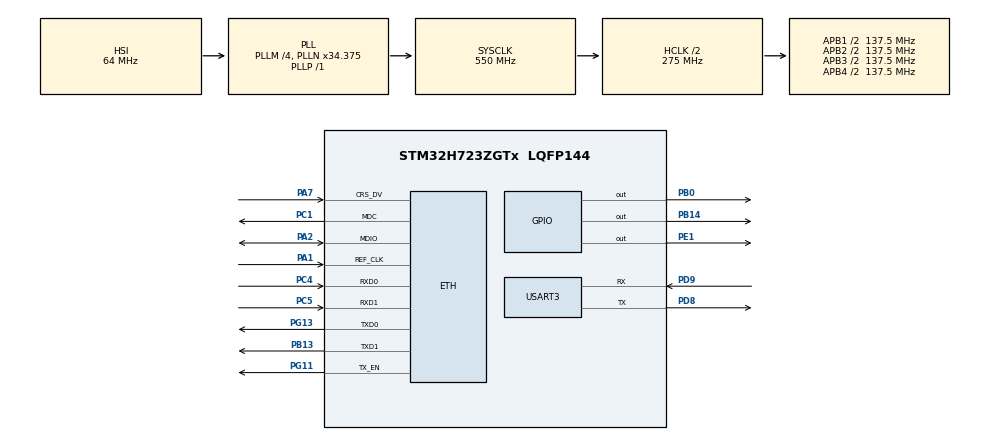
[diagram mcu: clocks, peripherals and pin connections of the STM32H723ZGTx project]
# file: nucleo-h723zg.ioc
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CORTEX_M7.default_mode_Activation=1
ETH.MediaInterface=HAL_ETH_RMII_MODE
FREERTOS.Tasks01=defaultTask,24,2048,StartDefaultTask,Default,NULL,Dynamic,NULL,NULL
FREERTOS.configTOTAL_HEAP_SIZE=65536
Mcu.Family=STM32H7
Mcu.Name=STM32H723ZGTx
Mcu.Package=LQFP144
NVIC.PriorityGroup=NVIC_PRIORITYGROUP_4
NVIC.TIM6_DAC_IRQn=true\:15\:0\:false\:false\:true\:false\:false\:true\:true
NVIC.TimeBase=TIM6_DAC_IRQn
NVIC.TimeBaseIP=TIM6
PA1.Mode=RMII
PA1.Signal=ETH_REF_CLK
PA2.Mode=RMII
PA2.Signal=ETH_MDIO
PA7.Mode=RMII
PA7.Signal=ETH_CRS_DV
PB0.Signal=GPIO_Output
PB13.Mode=RMII
PB13.Signal=ETH_TXD1
PB14.Signal=GPIO_Output
PC1.Mode=RMII
PC1.Signal=ETH_MDC
PC4.Mode=RMII
PC4.Signal=ETH_RXD0
PC5.Mode=RMII
PC5.Signal=ETH_RXD1
PD8.Mode=Asynchronous
PD8.Signal=USART3_TX
PD9.Mode=Asynchronous
PD9.Signal=USART3_RX
PE1.Signal=GPIO_Output
PG11.Mode=RMII
PG11.Signal=ETH_TX_EN
PG13.Mode=RMII
PG13.Signal=ETH_TXD0
ProjectManager.HeapSize=0x10000
ProjectManager.StackSize=0x2000
ProjectManager.TargetToolchain=CMake
RCC.ADCFreq_Value=129000000
RCC.APB1Freq_Value=137500000
RCC.APB2Freq_Value=137500000
RCC.APB3Freq_Value=137500000
RCC.APB4Freq_Value=137500000
RCC.CortexFreq_Value=550000000
RCC.D1PPRE=RCC_APB3_DIV2
RCC.D2PPRE1=RCC_APB1_DIV2
RCC.D2PPRE2=RCC_APB2_DIV2
RCC.D3PPRE=RCC_APB4_DIV2
RCC.DIVM1=4
RCC.DIVN1=34
RCC.DIVP1=1
RCC.HCLKFreq_Value=275000000
RCC.HPRE=RCC_HCLK_DIV2
RCC.PLL2FRACN=0
RCC.PLL3FRACN=0
RCC.PLLFRACN=3072
RCC.SYSCLKFreq_VALUE=550000000
RCC.SYSCLKSource=RCC_SYSCLKSOURCE_PLLCLK
RCC.USBFreq_Value=275000000
USART3.VirtualMode-Asynchronous=VM_ASYNC
VP_FREERTOS_VS_CMSIS_V2.Mode=CMSIS_V2
VP_MEMORYMAP_VS_MEMORYMAP.Mode=CurAppReg
VP_RNG_VS_RNG.Mode=RNG_Activate
VP_SYS_VS_tim6.Mode=TIM6
board=custom

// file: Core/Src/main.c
/* USER CODE BEGIN Header */
/**
  ******************************************************************************
  * @file           : main.c
  * @brief          : Main program body
  ******************************************************************************
  * @attention
  *
  * Copyright (c) 2026 STMicroelectronics.
  * All rights reserved.
  *
  * This software is licensed under terms that can be found in the LICENSE file
  * in the root directory of this software component.
  * If no LICENSE file comes with this software, it is provided AS-IS.
  *
  ******************************************************************************
  */
/* USER CODE END Header */
#include "main.h"
#include "string.h"
#include "FreeRTOS.h"
#include "cmsis_os2.h"

/* USER CODE BEGIN Includes */
#include "mongoose.h"

/* USER CODE END Includes */

#if defined ( __ICCARM__ ) /*!< IAR Compiler */
#pragma location=0x30000000
ETH_DMADescTypeDef  DMARxDscrTab[ETH_RX_DESC_CNT]; /* Ethernet Rx DMA Descriptors */
#pragma location=0x30000080
ETH_DMADescTypeDef  DMATxDscrTab[ETH_TX_DESC_CNT]; /* Ethernet Tx DMA Descriptors */

#elif defined ( __CC_ARM )  /* MDK ARM Compiler */

__attribute__((at(0x30000000))) ETH_DMADescTypeDef  DMARxDscrTab[ETH_RX_DESC_CNT]; /* Ethernet Rx DMA Descriptors */
__attribute__((at(0x30000080))) ETH_DMADescTypeDef  DMATxDscrTab[ETH_TX_DESC_CNT]; /* Ethernet Tx DMA Descriptors */

#elif defined ( __GNUC__ ) /* GNU Compiler */

ETH_DMADescTypeDef DMARxDscrTab[ETH_RX_DESC_CNT] __attribute__((section(".RxDescripSection"))); /* Ethernet Rx DMA Descriptors */
ETH_DMADescTypeDef DMATxDscrTab[ETH_TX_DESC_CNT] __attribute__((section(".TxDescripSection")));   /* Ethernet Tx DMA Descriptors */
#endif

ETH_TxPacketConfig TxConfig;

ETH_HandleTypeDef heth;

RNG_HandleTypeDef hrng;

UART_HandleTypeDef huart3;

/* Definitions for defaultTask */
osThreadId_t defaultTaskHandle;
const osThreadAttr_t defaultTask_attributes = {
  .name = "defaultTask",
  .stack_size = 8U * 1024U,
  .priority = (osPriority_t) osPriorityNormal,
};

void SystemClock_Config(void);
static void MPU_Config(void);
static void MX_GPIO_Init(void);
static void MX_ETH_Init(void);
static void MX_RNG_Init(void);
static void MX_USART3_UART_Init(void);
void StartDefaultTask(void *argument);

/* USER CODE BEGIN 0 */
static void log_fn(char ch, void *param) {
  HAL_UART_Transmit(param, (unsigned char *) &ch, 1, HAL_MAX_DELAY);
}

static void http_ev_handler(struct mg_connection *c, int ev, void *ev_data) {
 if (ev == MG_EV_HTTP_MSG) {
    struct mg_http_message *hm = (struct mg_http_message *) ev_data;
    if (mg_match(hm->uri, mg_str("/api/tick"), NULL)) {
      mg_http_reply(c, 200, "", "{%m:%lu}\n", MG_ESC("tick"), HAL_GetTick());
    } else if (mg_match(hm->uri, mg_str("/api/crash"), NULL)) {
      __asm volatile("udf #0");
    } else {
      mg_http_reply(c, 200, "Content-Type: text/plain\r\n",
                    "Hi from Mongoose, tick %lu\n%M\n",
                    (unsigned long) HAL_GetTick(), mg_print_mem_stats);
    }
  }
}
/* USER CODE END 0 */

int main(void)
{

  /* USER CODE BEGIN 1 */
  MG_HEALTH_INIT();
  /* USER CODE END 1 */

  /* MPU Configuration--------------------------------------------------------*/
  MPU_Config();

  /* MCU Configuration--------------------------------------------------------*/

  /* Reset of all peripherals, Initializes the Flash interface and the Systick. */
  HAL_Init();

  /* Configure the system clock */
  SystemClock_Config();

  /* Initialize all configured peripherals */
  MX_GPIO_Init();
  MX_ETH_Init();
  MX_RNG_Init();
  MX_USART3_UART_Init();

  /* Init scheduler */
  osKernelInitialize();

  /* Create the thread(s) */
  /* creation of defaultTask */
  defaultTaskHandle = osThreadNew(StartDefaultTask, NULL, &defaultTask_attributes);

  /* Start scheduler */
  osKernelStart();

  /* We should never get here as control is now taken by the scheduler */

  /* Infinite loop */
  while (1)
  {

  }
}

void SystemClock_Config(void)
{
  RCC_OscInitTypeDef RCC_OscInitStruct = {0};
  RCC_ClkInitTypeDef RCC_ClkInitStruct = {0};

  /** Supply configuration update enable
  */
  HAL_PWREx_ConfigSupply(PWR_LDO_SUPPLY);

  /** Configure the main internal regulator output voltage
  */
  __HAL_PWR_VOLTAGESCALING_CONFIG(PWR_REGULATOR_VOLTAGE_SCALE0);

  while(!__HAL_PWR_GET_FLAG(PWR_FLAG_VOSRDY)) {}

  /** Initializes the RCC Oscillators according to the specified parameters
  * in the RCC_OscInitTypeDef structure.
  */
  RCC_OscInitStruct.OscillatorType = RCC_OSCILLATORTYPE_HSI48|RCC_OSCILLATORTYPE_HSI;
  RCC_OscInitStruct.HSIState = RCC_HSI_DIV1;
  RCC_OscInitStruct.HSICalibrationValue = 64;
  RCC_OscInitStruct.HSI48State = RCC_HSI48_ON;
  RCC_OscInitStruct.PLL.PLLState = RCC_PLL_ON;
  RCC_OscInitStruct.PLL.PLLSource = RCC_PLLSOURCE_HSI;
  RCC_OscInitStruct.PLL.PLLM = 4;
  RCC_OscInitStruct.PLL.PLLN = 34;
  RCC_OscInitStruct.PLL.PLLP = 1;
  RCC_OscInitStruct.PLL.PLLQ = 2;
  RCC_OscInitStruct.PLL.PLLR = 2;
  RCC_OscInitStruct.PLL.PLLRGE = RCC_PLL1VCIRANGE_3;
  RCC_OscInitStruct.PLL.PLLVCOSEL = RCC_PLL1VCOWIDE;
  RCC_OscInitStruct.PLL.PLLFRACN = 3072;
  if (HAL_RCC_OscConfig(&RCC_OscInitStruct) != HAL_OK)
  {
    Error_Handler();
  }

  /** Initializes the CPU, AHB and APB buses clocks
  */
  RCC_ClkInitStruct.ClockType = RCC_CLOCKTYPE_HCLK|RCC_CLOCKTYPE_SYSCLK
                              |RCC_CLOCKTYPE_PCLK1|RCC_CLOCKTYPE_PCLK2
                              |RCC_CLOCKTYPE_D3PCLK1|RCC_CLOCKTYPE_D1PCLK1;
  RCC_ClkInitStruct.SYSCLKSource = RCC_SYSCLKSOURCE_PLLCLK;
  RCC_ClkInitStruct.SYSCLKDivider = RCC_SYSCLK_DIV1;
  RCC_ClkInitStruct.AHBCLKDivider = RCC_HCLK_DIV2;
  RCC_ClkInitStruct.APB3CLKDivider = RCC_APB3_DIV2;
  RCC_ClkInitStruct.APB1CLKDivider = RCC_APB1_DIV2;
  RCC_ClkInitStruct.APB2CLKDivider = RCC_APB2_DIV2;
  RCC_ClkInitStruct.APB4CLKDivider = RCC_APB4_DIV2;

  if (HAL_RCC_ClockConfig(&RCC_ClkInitStruct, FLASH_LATENCY_3) != HAL_OK)
  {
    Error_Handler();
  }
}

static void MX_ETH_Init(void)
{

   static uint8_t MACAddr[6];

  heth.Instance = ETH;
  MACAddr[0] = 0x00;
  MACAddr[1] = 0x80;
  MACAddr[2] = 0xE1;
  MACAddr[3] = 0x00;
  MACAddr[4] = 0x00;
  MACAddr[5] = 0x00;
  heth.Init.MACAddr = &MACAddr[0];
  heth.Init.MediaInterface = HAL_ETH_RMII_MODE;
  heth.Init.TxDesc = DMATxDscrTab;
  heth.Init.RxDesc = DMARxDscrTab;
  heth.Init.RxBuffLen = 1536;

  if (HAL_ETH_Init(&heth) != HAL_OK)
  {
    Error_Handler();
  }

}

static void MX_RNG_Init(void)
{

  hrng.Instance = RNG;
  hrng.Init.ClockErrorDetection = RNG_CED_ENABLE;
  if (HAL_RNG_Init(&hrng) != HAL_OK)
  {
    Error_Handler();
  }

}

static void MX_USART3_UART_Init(void)
{

  huart3.Instance = USART3;
  huart3.Init.BaudRate = 115200;
  huart3.Init.WordLength = UART_WORDLENGTH_8B;
  huart3.Init.StopBits = UART_STOPBITS_1;
  huart3.Init.Parity = UART_PARITY_NONE;
  huart3.Init.Mode = UART_MODE_TX_RX;
  huart3.Init.HwFlowCtl = UART_HWCONTROL_NONE;
  huart3.Init.OverSampling = UART_OVERSAMPLING_16;
  huart3.Init.OneBitSampling = UART_ONE_BIT_SAMPLE_DISABLE;
  huart3.Init.ClockPrescaler = UART_PRESCALER_DIV1;
  huart3.AdvancedInit.AdvFeatureInit = UART_ADVFEATURE_NO_INIT;
  if (HAL_UART_Init(&huart3) != HAL_OK)
  {
    Error_Handler();
  }
  if (HAL_UARTEx_SetTxFifoThreshold(&huart3, UART_TXFIFO_THRESHOLD_1_8) != HAL_OK)
  {
    Error_Handler();
  }
  if (HAL_UARTEx_SetRxFifoThreshold(&huart3, UART_RXFIFO_THRESHOLD_1_8) != HAL_OK)
  {
    Error_Handler();
  }
  if (HAL_UARTEx_DisableFifoMode(&huart3) != HAL_OK)
  {
    Error_Handler();
  }

}

static void MX_GPIO_Init(void)
{
  GPIO_InitTypeDef GPIO_InitStruct = {0};

  /* GPIO Ports Clock Enable */
  __HAL_RCC_GPIOC_CLK_ENABLE();
  __HAL_RCC_GPIOA_CLK_ENABLE();
  __HAL_RCC_GPIOB_CLK_ENABLE();
  __HAL_RCC_GPIOD_CLK_ENABLE();
  __HAL_RCC_GPIOG_CLK_ENABLE();
  __HAL_RCC_GPIOE_CLK_ENABLE();

  /*Configure GPIO pin Output Level */
  HAL_GPIO_WritePin(GPIOB, GPIO_PIN_0|GPIO_PIN_14, GPIO_PIN_RESET);

  /*Configure GPIO pin Output Level */
  HAL_GPIO_WritePin(GPIOE, GPIO_PIN_1, GPIO_PIN_RESET);

  /*Configure GPIO pins : PB0 PB14 */
  GPIO_InitStruct.Pin = GPIO_PIN_0|GPIO_PIN_14;
  GPIO_InitStruct.Mode = GPIO_MODE_OUTPUT_PP;
  GPIO_InitStruct.Pull = GPIO_NOPULL;
  GPIO_InitStruct.Speed = GPIO_SPEED_FREQ_LOW;
  HAL_GPIO_Init(GPIOB, &GPIO_InitStruct);

  /*Configure GPIO pin : PE1 */
  GPIO_InitStruct.Pin = GPIO_PIN_1;
  GPIO_InitStruct.Mode = GPIO_MODE_OUTPUT_PP;
  GPIO_InitStruct.Pull = GPIO_NOPULL;
  GPIO_InitStruct.Speed = GPIO_SPEED_FREQ_LOW;
  HAL_GPIO_Init(GPIOE, &GPIO_InitStruct);

}

void StartDefaultTask(void *argument)
{
  /* USER CODE BEGIN 5 */
  struct mg_mgr mgr;
  (void) argument;
  mg_log_set_fn(log_fn, &huart3);
  mg_mgr_init(&mgr);
  mg_http_listen(&mgr, "http://0.0.0.0", http_ev_handler, NULL);

  MG_INFO(("Initialised. CPU clock: %lu MHz", SystemCoreClock / 1000000));
  MG_INFO(("Memory: %M", mg_print_mem_stats));
  MG_INFO(("Crash record: %s, %M", mg_health_valid() ? "enabled" : "disabled",
           mg_print_crash_record));

  /* Infinite loop */
  for(;;)
  {
    mg_mgr_poll(&mgr, 0);
    osDelay(1);
  }
  /* USER CODE END 5 */
}

 /* MPU Configuration */

void MPU_Config(void)
{
  MPU_Region_InitTypeDef MPU_InitStruct = {0};

  /* Disables the MPU */
  HAL_MPU_Disable();

  /** Initializes and configures the Region and the memory to be protected
  */
  MPU_InitStruct.Enable = MPU_REGION_ENABLE;
  MPU_InitStruct.Number = MPU_REGION_NUMBER0;
  MPU_InitStruct.BaseAddress = 0x0;
  MPU_InitStruct.Size = MPU_REGION_SIZE_4GB;
  MPU_InitStruct.SubRegionDisable = 0x87;
  MPU_InitStruct.TypeExtField = MPU_TEX_LEVEL0;
  MPU_InitStruct.AccessPermission = MPU_REGION_NO_ACCESS;
  MPU_InitStruct.DisableExec = MPU_INSTRUCTION_ACCESS_DISABLE;
  MPU_InitStruct.IsShareable = MPU_ACCESS_SHAREABLE;
  MPU_InitStruct.IsCacheable = MPU_ACCESS_NOT_CACHEABLE;
  MPU_InitStruct.IsBufferable = MPU_ACCESS_NOT_BUFFERABLE;

  HAL_MPU_ConfigRegion(&MPU_InitStruct);
  /* Enables the MPU */
  HAL_MPU_Enable(MPU_PRIVILEGED_DEFAULT);

}

void HAL_TIM_PeriodElapsedCallback(TIM_HandleTypeDef *htim)
{
  if (htim->Instance == TIM6)
  {
    HAL_IncTick();
  }
}

void Error_Handler(void)
{
  __disable_irq();
  while (1)
  {
  }
}
